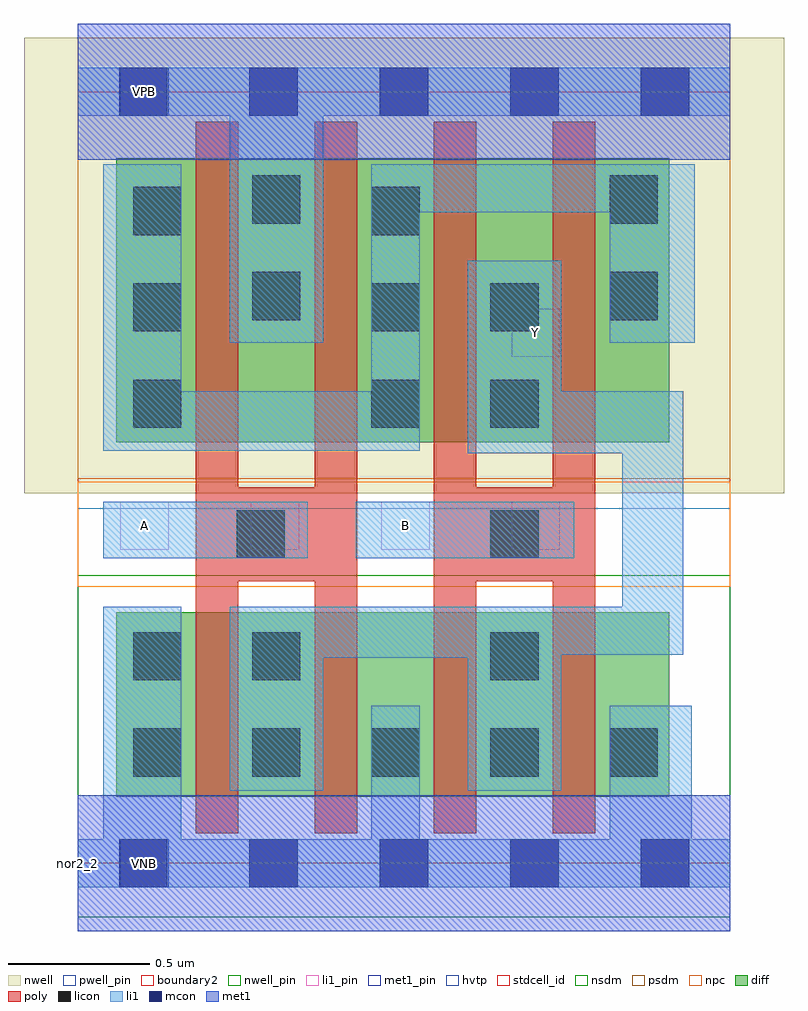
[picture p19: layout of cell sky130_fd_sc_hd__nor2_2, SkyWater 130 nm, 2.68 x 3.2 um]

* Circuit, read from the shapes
.subckt sky130_fd_sc_hd__nor2_2 A B VGND VNB VPB VPWR Y
XM1 Y A VGND VNB sky130_fd_pr__nfet_01v8 w=0.65 l=0.15 m=2
XM2 Y B VGND VNB sky130_fd_pr__nfet_01v8 w=0.65 l=0.15 m=2
XM3 VPWR A n1 VPB sky130_fd_pr__pfet_01v8_hvt w=1 l=0.15 m=2
XM4 Y B n1 VPB sky130_fd_pr__pfet_01v8_hvt w=1 l=0.15 m=2
.ends

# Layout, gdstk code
import gdstk
lib = gdstk.Library(unit=1e-6, precision=1e-09)
def R(c, l, rs):  # rectangles x0, y0, x1, y1
    for r in rs: c.add(gdstk.rectangle(r[:2], r[2:], *l))
def A(c, l, x, y, w, h, nx, ny, dx, dy):  # array of equal rectangles
    R(c, l, [(x+i*dx, y+j*dy, x+i*dx+w, y+j*dy+h) for i in range(nx) for j in range(ny)])
def P(c, l, *ps):  # polygons
    for p in ps: c.add(gdstk.Polygon(p, *l))
nwell_pin = (64, 16)
nwell = (64, 20)
diff = (65, 20)
poly = (66, 20)
licon = (66, 44)
li1_pin = (67, 16)
li1 = (67, 20)
mcon = (67, 44)
met1_pin = (68, 16)
met1 = (68, 20)
hvtp = (78, 44)
stdcell_id = (81, 4)
nsdm = (93, 44)
psdm = (94, 20)
npc = (95, 20)
pwell_pin = (122, 16)
boundary2 = (236, 0)

sky130_fd_sc_hd__nor2_2 = lib.new_cell('sky130_fd_sc_hd__nor2_2')
R(sky130_fd_sc_hd__nor2_2, nwell_pin, [(0.15,2.635,0.32,2.805)])
R(sky130_fd_sc_hd__nor2_2, nwell, [(-0.19,1.305,2.49,2.91)])
R(sky130_fd_sc_hd__nor2_2, diff, [(0.135,0.235,2.085,0.885), (0.135,1.485,2.085,2.485)])
P(sky130_fd_sc_hd__nor2_2, poly, [(0.985,2.615),(0.835,2.615),(0.835,1.325),(0.565,1.325),(0.565,2.615),(0.415,2.615),(0.415,0.105),(0.565,0.105),(0.565,0.995),(0.835,0.995),(0.835,0.105),(0.985,0.105)],
  [(1.825,2.615),(1.675,2.615),(1.675,1.325),(1.405,1.325),(1.405,2.615),(1.255,2.615),(1.255,0.105),(1.405,0.105),(1.405,0.995),(1.675,0.995),(1.675,0.105),(1.825,0.105)])
A(sky130_fd_sc_hd__nor2_2, licon, 0.195, 0.305, 0.17, 0.17, 5, 1, 0.42, 0)
A(sky130_fd_sc_hd__nor2_2, licon, 0.195, 1.535, 0.17, 0.17, 1, 3, 0, 0.34)
A(sky130_fd_sc_hd__nor2_2, licon, 1.035, 1.535, 0.17, 0.17, 1, 3, 0, 0.34)
R(sky130_fd_sc_hd__nor2_2, licon, [(0.195,0.645,0.365,0.815), (0.615,0.645,0.785,0.815), (1.455,0.645,1.625,0.815), (0.56,1.075,0.73,1.245), (1.455,1.075,1.625,1.245), (1.455,1.535,1.625,1.705), (1.455,1.875,1.625,2.045), (0.615,1.915,0.785,2.085), (1.875,1.915,2.045,2.085), (0.615,2.255,0.785,2.425), (1.875,2.255,2.045,2.425)])
A(sky130_fd_sc_hd__nor2_2, li1_pin, 0.15, 1.105, 0.17, 0.17, 4, 1, 0.46, 0)
R(sky130_fd_sc_hd__nor2_2, li1_pin, [(1.53,1.785,1.7,1.955)])
R(sky130_fd_sc_hd__nor2_2, li1, [(0.09,1.075,0.81,1.275), (0.98,1.075,1.75,1.275)])
P(sky130_fd_sc_hd__nor2_2, li1, [(2.3,0.085),(2.165,0.085),(2.165,0.555),(1.875,0.555),(1.875,0.085),(1.205,0.085),(1.205,0.555),(1.035,0.555),(1.035,0.085),(0.365,0.085),(0.365,0.905),(0.09,0.905),(0.09,0.085),(0,0.085),(0,-0.085),(2.3,-0.085)],
  [(2.3,2.805),(0,2.805),(0,2.635),(0.535,2.635),(0.535,1.835),(0.865,1.835),(0.865,2.635),(2.3,2.635)],
  [(2.135,1.665),(1.705,1.665),(1.705,2.125),(1.375,2.125),(1.375,1.445),(1.92,1.445),(1.92,0.905),(0.535,0.905),(0.535,0.255),(0.865,0.255),(0.865,0.725),(1.375,0.725),(1.375,0.255),(1.705,0.255),(1.705,0.735),(2.135,0.735)],
  [(2.175,2.465),(1.035,2.465),(1.035,1.665),(0.365,1.665),(0.365,2.465),(0.09,2.465),(0.09,1.455),(1.205,1.455),(1.205,2.295),(1.875,2.295),(1.875,1.835),(2.175,1.835)])
A(sky130_fd_sc_hd__nor2_2, mcon, 0.145, -0.085, 0.17, 0.17, 5, 2, 0.46, 2.72)
R(sky130_fd_sc_hd__nor2_2, met1_pin, [(0.15,-0.085,0.32,0.085), (0.15,2.635,0.32,2.805)])
R(sky130_fd_sc_hd__nor2_2, hvtp, [(0,1.25,2.3,2.72)])
R(sky130_fd_sc_hd__nor2_2, stdcell_id, [(0,0,2.3,2.72)])
R(sky130_fd_sc_hd__nor2_2, nsdm, [(0,-0.19,2.3,1.015)])
R(sky130_fd_sc_hd__nor2_2, psdm, [(0,1.355,2.3,2.91)])
R(sky130_fd_sc_hd__nor2_2, npc, [(0,0.975,2.3,1.345)])
R(sky130_fd_sc_hd__nor2_2, pwell_pin, [(0.15,-0.085,0.32,0.085)])
R(sky130_fd_sc_hd__nor2_2, boundary2, [(0,0,2.3,2.72)])
sky130_fd_sc_hd__nor2_2.add(gdstk.FlexPath([(0,2.72),(2.3,2.72)], 0.48, ends="flush", simple_path=True, layer=68, datatype=20))  # met1
sky130_fd_sc_hd__nor2_2.add(gdstk.FlexPath([(0,0),(2.3,0)], 0.48, ends="flush", simple_path=True, layer=68, datatype=20))  # met1
sky130_fd_sc_hd__nor2_2.add(gdstk.Label('B', (1.155,1.19), layer=67, texttype=5))
sky130_fd_sc_hd__nor2_2.add(gdstk.Label('Y', (1.615,1.87), layer=67, texttype=5))
sky130_fd_sc_hd__nor2_2.add(gdstk.Label('A', (0.235,1.19), layer=67, texttype=5))
sky130_fd_sc_hd__nor2_2.add(gdstk.Label('VPB', (0.235,2.72), layer=64, texttype=5))
sky130_fd_sc_hd__nor2_2.add(gdstk.Label('VNB', (0.235,0), layer=64, texttype=59))
sky130_fd_sc_hd__nor2_2.add(gdstk.Label('VGND', (0.235,0), layer=68, texttype=5))
sky130_fd_sc_hd__nor2_2.add(gdstk.Label('VPWR', (0.235,2.72), layer=68, texttype=5))
sky130_fd_sc_hd__nor2_2.add(gdstk.Label('nor2_2', (0,0), layer=83, texttype=44))

lib.write_gds('sky130_fd_sc_hd__nor2_2.gds')
